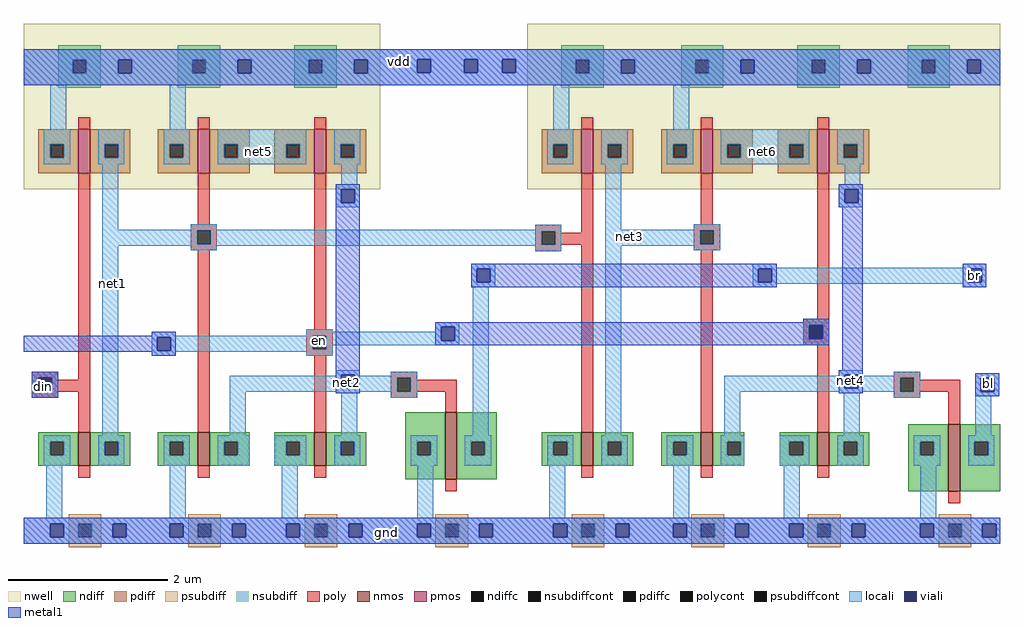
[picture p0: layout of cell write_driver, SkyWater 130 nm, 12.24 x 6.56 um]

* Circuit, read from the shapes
.subckt write_driver br bl gnd vdd din en
XM1 net1 din gnd gnd sky130_fd_pr__nfet_01v8 w=0.42 l=0.15
XM2 net2 net1 gnd gnd sky130_fd_pr__nfet_01v8 w=0.42 l=0.15
XM3 net2 en gnd gnd sky130_fd_pr__nfet_01v8 w=0.42 l=0.15
XM4 br net2 gnd gnd sky130_fd_pr__nfet_01v8 w=0.84 l=0.15
XM5 net3 net1 gnd gnd sky130_fd_pr__nfet_01v8 w=0.42 l=0.15
XM6 net4 net3 gnd gnd sky130_fd_pr__nfet_01v8 w=0.42 l=0.15
XM7 net4 en gnd gnd sky130_fd_pr__nfet_01v8 w=0.42 l=0.15
XM8 bl net4 gnd gnd sky130_fd_pr__nfet_01v8 w=0.84 l=0.15
XM9 net1 din vdd vdd sky130_fd_pr__pfet_01v8 w=0.55 l=0.15
XM10 net5 net1 vdd vdd sky130_fd_pr__pfet_01v8 w=0.55 l=0.15
XM11 net2 en net5 vdd sky130_fd_pr__pfet_01v8 w=0.55 l=0.15
XM12 net3 net1 vdd vdd sky130_fd_pr__pfet_01v8 w=0.55 l=0.15
XM13 net6 net3 vdd vdd sky130_fd_pr__pfet_01v8 w=0.55 l=0.15
XM14 net4 en net6 vdd sky130_fd_pr__pfet_01v8 w=0.55 l=0.15
.ends

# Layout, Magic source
magic
tech sky130A
<< nwell >>
rect 117 564 564 771
rect 748 564 1341 771
<< nmos >>
rect 185 217 200 259
rect 335 217 350 259
rect 481 217 496 259
rect 645 200 660 284
rect 816 217 831 259
rect 966 217 981 259
rect 1112 217 1127 259
rect 1276 185 1291 269
<< pmos >>
rect 185 584 200 639
rect 335 584 350 639
rect 481 584 496 639
rect 816 584 831 639
rect 966 584 981 639
rect 1112 584 1127 639
<< ndiff >>
rect 135 247 185 259
rect 135 230 150 247
rect 167 230 185 247
rect 135 217 185 230
rect 200 247 250 259
rect 200 230 218 247
rect 235 230 250 247
rect 200 217 250 230
rect 285 247 335 259
rect 285 230 300 247
rect 317 230 335 247
rect 285 217 335 230
rect 350 247 400 259
rect 350 230 368 247
rect 385 230 400 247
rect 350 217 400 230
rect 431 247 481 259
rect 431 230 446 247
rect 463 230 481 247
rect 431 217 481 230
rect 496 247 546 259
rect 496 230 514 247
rect 531 230 546 247
rect 496 217 546 230
rect 595 247 645 284
rect 595 230 610 247
rect 627 230 645 247
rect 595 200 645 230
rect 660 247 710 284
rect 660 230 678 247
rect 695 230 710 247
rect 660 200 710 230
rect 766 247 816 259
rect 766 230 781 247
rect 798 230 816 247
rect 766 217 816 230
rect 831 247 881 259
rect 831 230 849 247
rect 866 230 881 247
rect 831 217 881 230
rect 916 247 966 259
rect 916 230 931 247
rect 948 230 966 247
rect 916 217 966 230
rect 981 247 1020 259
rect 981 230 999 247
rect 1016 230 1020 247
rect 981 217 1020 230
rect 1065 247 1112 259
rect 1065 230 1077 247
rect 1094 230 1112 247
rect 1065 217 1112 230
rect 1127 247 1177 259
rect 1127 230 1145 247
rect 1162 230 1177 247
rect 1127 217 1177 230
rect 1226 247 1276 269
rect 1226 230 1241 247
rect 1258 230 1276 247
rect 1226 185 1276 230
rect 1291 247 1341 269
rect 1291 230 1309 247
rect 1326 230 1341 247
rect 1291 185 1341 230
<< pdiff >>
rect 135 620 185 639
rect 135 603 150 620
rect 167 603 185 620
rect 135 584 185 603
rect 200 620 250 639
rect 200 603 218 620
rect 235 603 250 620
rect 200 584 250 603
rect 285 620 335 639
rect 285 603 300 620
rect 317 603 335 620
rect 285 584 335 603
rect 350 620 400 639
rect 350 603 368 620
rect 385 603 400 620
rect 350 584 400 603
rect 431 620 481 639
rect 431 603 446 620
rect 463 603 481 620
rect 431 584 481 603
rect 496 620 546 639
rect 496 603 514 620
rect 531 603 546 620
rect 496 584 546 603
rect 766 620 816 639
rect 766 603 781 620
rect 798 603 816 620
rect 766 584 816 603
rect 831 620 881 639
rect 831 603 849 620
rect 866 603 881 620
rect 831 584 881 603
rect 916 620 966 639
rect 916 603 931 620
rect 948 603 966 620
rect 916 584 966 603
rect 981 620 1031 639
rect 981 603 999 620
rect 1016 603 1031 620
rect 981 584 1031 603
rect 1062 620 1112 639
rect 1062 603 1077 620
rect 1094 603 1112 620
rect 1062 584 1112 603
rect 1127 620 1177 639
rect 1127 603 1145 620
rect 1162 603 1177 620
rect 1127 584 1177 603
<< ndiffc >>
rect 150 230 167 247
rect 218 230 235 247
rect 300 230 317 247
rect 368 230 385 247
rect 446 230 463 247
rect 514 230 531 247
rect 610 230 627 247
rect 678 230 695 247
rect 781 230 798 247
rect 849 230 866 247
rect 931 230 948 247
rect 999 230 1016 247
rect 1077 230 1094 247
rect 1145 230 1162 247
rect 1241 230 1258 247
rect 1309 230 1326 247
<< pdiffc >>
rect 150 603 167 620
rect 218 603 235 620
rect 300 603 317 620
rect 368 603 385 620
rect 446 603 463 620
rect 514 603 531 620
rect 781 603 798 620
rect 849 603 866 620
rect 931 603 948 620
rect 999 603 1016 620
rect 1077 603 1094 620
rect 1145 603 1162 620
<< psubdiff >>
rect 173 144 214 156
rect 173 127 185 144
rect 202 127 214 144
rect 173 115 214 127
rect 323 144 364 156
rect 323 127 335 144
rect 352 127 364 144
rect 323 115 364 127
rect 469 144 510 156
rect 469 127 481 144
rect 498 127 510 144
rect 469 115 510 127
rect 633 144 674 156
rect 633 127 645 144
rect 662 127 674 144
rect 633 115 674 127
rect 804 144 845 156
rect 804 127 816 144
rect 833 127 845 144
rect 804 115 845 127
rect 954 144 995 156
rect 954 127 966 144
rect 983 127 995 144
rect 954 115 995 127
rect 1100 144 1141 156
rect 1100 127 1112 144
rect 1129 127 1141 144
rect 1100 115 1141 127
rect 1264 144 1305 156
rect 1264 127 1276 144
rect 1293 127 1305 144
rect 1264 115 1305 127
<< nsubdiff >>
rect 160 726 213 744
rect 160 709 178 726
rect 195 709 213 726
rect 160 691 213 709
rect 310 726 363 744
rect 310 709 328 726
rect 345 709 363 726
rect 310 691 363 709
rect 456 726 509 744
rect 456 709 474 726
rect 491 709 509 726
rect 456 691 509 709
rect 791 726 844 744
rect 791 709 809 726
rect 826 709 844 726
rect 791 691 844 709
rect 941 726 994 744
rect 941 709 959 726
rect 976 709 994 726
rect 941 691 994 709
rect 1087 726 1140 744
rect 1087 709 1105 726
rect 1122 709 1140 726
rect 1087 691 1140 709
rect 1225 726 1278 744
rect 1225 709 1243 726
rect 1260 709 1278 726
rect 1225 691 1278 709
<< psubdiffcont >>
rect 185 127 202 144
rect 335 127 352 144
rect 481 127 498 144
rect 645 127 662 144
rect 816 127 833 144
rect 966 127 983 144
rect 1112 127 1129 144
rect 1276 127 1293 144
<< nsubdiffcont >>
rect 178 709 195 726
rect 328 709 345 726
rect 474 709 491 726
rect 809 709 826 726
rect 959 709 976 726
rect 1105 709 1122 726
rect 1243 709 1260 726
<< poly >>
rect 185 639 200 654
rect 335 639 350 654
rect 481 639 496 654
rect 816 639 831 654
rect 966 639 981 654
rect 1112 639 1127 654
rect 127 327 160 335
rect 127 310 135 327
rect 152 325 160 327
rect 185 325 200 584
rect 335 520 350 584
rect 326 512 359 520
rect 326 495 334 512
rect 351 495 359 512
rect 326 487 359 495
rect 152 310 200 325
rect 127 302 160 310
rect 185 259 200 310
rect 335 259 350 487
rect 481 388 496 584
rect 758 511 791 519
rect 758 494 766 511
rect 783 509 791 511
rect 816 509 831 584
rect 966 520 981 584
rect 783 494 831 509
rect 758 486 791 494
rect 471 380 504 388
rect 471 363 479 380
rect 496 363 504 380
rect 471 355 504 363
rect 481 259 496 355
rect 577 327 610 335
rect 577 310 585 327
rect 602 325 610 327
rect 602 310 660 325
rect 577 302 610 310
rect 645 284 660 310
rect 185 202 200 217
rect 335 202 350 217
rect 481 202 496 217
rect 816 259 831 494
rect 957 512 990 520
rect 957 495 965 512
rect 982 495 990 512
rect 957 487 990 495
rect 966 259 981 487
rect 1112 401 1127 584
rect 1094 393 1127 401
rect 1094 376 1102 393
rect 1119 376 1127 393
rect 1094 368 1127 376
rect 1112 259 1127 368
rect 1208 327 1241 335
rect 1208 310 1216 327
rect 1233 325 1241 327
rect 1233 310 1291 325
rect 1208 302 1241 310
rect 1276 269 1291 310
rect 816 202 831 217
rect 966 202 981 217
rect 1112 202 1127 217
rect 645 185 660 200
rect 1276 170 1291 185
<< polycont >>
rect 135 310 152 327
rect 334 495 351 512
rect 766 494 783 511
rect 479 363 496 380
rect 585 310 602 327
rect 965 495 982 512
rect 1102 376 1119 393
rect 1216 310 1233 327
<< locali >>
rect 117 727 1341 739
rect 117 726 610 727
rect 117 709 178 726
rect 195 709 235 726
rect 252 709 328 726
rect 345 709 385 726
rect 402 709 474 726
rect 491 709 531 726
rect 548 710 610 726
rect 627 710 669 727
rect 686 710 717 727
rect 734 726 1341 727
rect 734 710 809 726
rect 548 709 809 710
rect 826 709 866 726
rect 883 709 959 726
rect 976 709 1016 726
rect 1033 709 1105 726
rect 1122 709 1162 726
rect 1179 709 1243 726
rect 1260 709 1300 726
rect 1317 709 1341 726
rect 117 694 1341 709
rect 150 639 170 694
rect 300 639 320 694
rect 781 639 801 694
rect 931 639 951 694
rect 142 620 175 639
rect 142 603 150 620
rect 167 603 175 620
rect 142 595 175 603
rect 210 620 243 639
rect 210 603 218 620
rect 235 603 243 620
rect 210 595 243 603
rect 292 620 325 639
rect 292 603 300 620
rect 317 603 325 620
rect 292 595 325 603
rect 360 620 471 639
rect 360 603 368 620
rect 385 603 446 620
rect 463 603 471 620
rect 360 595 471 603
rect 506 620 539 639
rect 506 603 514 620
rect 531 603 539 620
rect 506 595 539 603
rect 773 620 806 639
rect 773 603 781 620
rect 798 603 806 620
rect 773 595 806 603
rect 841 620 874 639
rect 841 603 849 620
rect 866 603 874 620
rect 841 595 874 603
rect 923 620 956 639
rect 923 603 931 620
rect 948 603 956 620
rect 923 595 956 603
rect 991 620 1102 639
rect 991 603 999 620
rect 1016 603 1077 620
rect 1094 603 1102 620
rect 991 595 1102 603
rect 1137 620 1170 639
rect 1137 603 1145 620
rect 1162 603 1170 620
rect 1137 595 1170 603
rect 215 513 235 595
rect 515 570 535 595
rect 508 564 538 570
rect 508 547 515 564
rect 532 547 538 564
rect 508 541 538 547
rect 326 513 359 520
rect 758 513 791 519
rect 215 512 791 513
rect 215 495 334 512
rect 351 511 791 512
rect 351 495 766 511
rect 215 494 766 495
rect 783 494 791 511
rect 215 493 791 494
rect 127 327 160 335
rect 127 310 135 327
rect 152 310 160 327
rect 127 302 160 310
rect 215 255 235 493
rect 326 487 359 493
rect 758 486 791 493
rect 846 513 866 595
rect 1146 570 1166 595
rect 1139 564 1169 570
rect 1139 547 1146 564
rect 1163 547 1169 564
rect 1139 541 1169 547
rect 957 513 990 520
rect 846 512 990 513
rect 846 495 965 512
rect 982 495 990 512
rect 846 493 990 495
rect 678 464 708 470
rect 678 447 685 464
rect 702 447 708 464
rect 678 441 708 447
rect 633 391 663 397
rect 471 385 504 388
rect 633 385 640 391
rect 277 380 307 385
rect 471 380 640 385
rect 277 378 479 380
rect 277 361 284 378
rect 301 363 479 378
rect 496 374 640 380
rect 657 374 663 391
rect 496 368 663 374
rect 496 363 504 368
rect 301 361 504 363
rect 277 360 504 361
rect 277 355 307 360
rect 471 355 504 360
rect 508 331 538 337
rect 508 330 515 331
rect 375 314 515 330
rect 532 330 538 331
rect 577 330 610 335
rect 532 327 610 330
rect 532 314 585 327
rect 375 310 585 314
rect 602 310 610 327
rect 375 255 395 310
rect 508 308 538 310
rect 515 255 535 308
rect 577 302 610 310
rect 680 255 700 441
rect 846 255 866 493
rect 957 487 990 493
rect 1031 465 1061 470
rect 1294 465 1324 470
rect 1031 464 1324 465
rect 1031 447 1038 464
rect 1055 447 1301 464
rect 1318 447 1324 464
rect 1031 445 1324 447
rect 1031 441 1061 445
rect 1294 441 1324 445
rect 1094 393 1127 401
rect 1094 376 1102 393
rect 1119 376 1127 393
rect 1094 368 1127 376
rect 1139 331 1169 337
rect 1139 330 1146 331
rect 995 314 1146 330
rect 1163 330 1169 331
rect 1208 330 1241 335
rect 1163 327 1241 330
rect 1163 314 1216 327
rect 995 310 1216 314
rect 1233 310 1241 327
rect 995 255 1015 310
rect 1139 308 1169 310
rect 1145 255 1165 308
rect 1208 302 1241 310
rect 1310 327 1340 333
rect 1310 310 1317 327
rect 1334 310 1340 327
rect 1310 304 1340 310
rect 1310 255 1330 304
rect 142 247 175 255
rect 142 230 150 247
rect 167 230 175 247
rect 142 217 175 230
rect 210 247 243 255
rect 210 230 218 247
rect 235 230 243 247
rect 210 217 243 230
rect 292 247 325 255
rect 292 230 300 247
rect 317 230 325 247
rect 292 217 325 230
rect 360 247 400 255
rect 360 230 368 247
rect 385 230 400 247
rect 360 217 400 230
rect 431 247 471 255
rect 431 230 446 247
rect 463 230 471 247
rect 431 217 471 230
rect 506 247 539 255
rect 506 230 514 247
rect 531 230 539 247
rect 506 217 539 230
rect 602 247 635 255
rect 602 230 610 247
rect 627 230 635 247
rect 602 217 635 230
rect 670 247 703 255
rect 670 230 678 247
rect 695 230 703 247
rect 670 217 703 230
rect 773 247 806 255
rect 773 230 781 247
rect 798 230 806 247
rect 773 217 806 230
rect 841 247 874 255
rect 841 230 849 247
rect 866 230 874 247
rect 841 217 874 230
rect 923 247 956 255
rect 923 230 931 247
rect 948 230 956 247
rect 923 217 956 230
rect 991 247 1020 255
rect 991 230 999 247
rect 1016 230 1020 247
rect 991 217 1020 230
rect 1065 247 1102 255
rect 1065 230 1077 247
rect 1094 230 1102 247
rect 1065 217 1102 230
rect 1137 247 1170 255
rect 1137 230 1145 247
rect 1162 230 1170 247
rect 1137 217 1170 230
rect 1233 247 1266 255
rect 1233 230 1241 247
rect 1258 230 1266 247
rect 1233 217 1266 230
rect 1301 247 1334 255
rect 1301 230 1309 247
rect 1326 230 1334 247
rect 1301 217 1334 230
rect 145 152 165 217
rect 300 152 320 217
rect 440 152 460 217
rect 610 152 630 217
rect 776 152 796 217
rect 931 152 951 217
rect 1070 152 1090 217
rect 1241 152 1261 217
rect 117 144 1341 152
rect 117 127 150 144
rect 167 127 185 144
rect 202 127 228 144
rect 245 127 300 144
rect 317 127 335 144
rect 352 127 378 144
rect 395 127 446 144
rect 463 127 481 144
rect 498 127 524 144
rect 541 127 610 144
rect 627 127 645 144
rect 662 127 688 144
rect 705 127 781 144
rect 798 127 816 144
rect 833 127 859 144
rect 876 127 931 144
rect 948 127 966 144
rect 983 127 1009 144
rect 1026 127 1077 144
rect 1094 127 1112 144
rect 1129 127 1155 144
rect 1172 127 1241 144
rect 1258 127 1276 144
rect 1293 127 1319 144
rect 1336 127 1341 144
rect 117 119 1341 127
<< viali >>
rect 235 709 252 726
rect 385 709 402 726
rect 531 709 548 726
rect 610 710 627 727
rect 669 710 686 727
rect 717 710 734 727
rect 866 709 883 726
rect 1016 709 1033 726
rect 1162 709 1179 726
rect 1300 709 1317 726
rect 515 547 532 564
rect 135 310 152 327
rect 1146 547 1163 564
rect 685 447 702 464
rect 284 361 301 378
rect 640 374 657 391
rect 515 314 532 331
rect 1038 447 1055 464
rect 1301 447 1318 464
rect 1102 376 1119 393
rect 1146 314 1163 331
rect 1317 310 1334 327
rect 150 127 167 144
rect 228 127 245 144
rect 300 127 317 144
rect 378 127 395 144
rect 446 127 463 144
rect 524 127 541 144
rect 610 127 627 144
rect 688 127 705 144
rect 781 127 798 144
rect 859 127 876 144
rect 931 127 948 144
rect 1009 127 1026 144
rect 1077 127 1094 144
rect 1155 127 1172 144
rect 1241 127 1258 144
rect 1319 127 1336 144
<< metal1 >>
rect 117 727 1341 739
rect 117 726 610 727
rect 117 709 235 726
rect 252 709 385 726
rect 402 709 531 726
rect 548 710 610 726
rect 627 710 669 727
rect 686 710 717 727
rect 734 726 1341 727
rect 734 710 866 726
rect 548 709 866 710
rect 883 709 1016 726
rect 1033 709 1162 726
rect 1179 709 1300 726
rect 1317 709 1341 726
rect 117 694 1341 709
rect 508 564 538 570
rect 508 547 515 564
rect 532 547 538 564
rect 277 380 307 385
rect 117 378 307 380
rect 117 361 284 378
rect 301 361 307 378
rect 117 360 307 361
rect 277 355 307 360
rect 127 327 160 335
rect 127 310 135 327
rect 152 310 160 327
rect 127 302 160 310
rect 508 331 538 547
rect 1139 564 1169 570
rect 1139 547 1146 564
rect 1163 547 1169 564
rect 1139 541 1169 547
rect 678 464 1061 470
rect 678 447 685 464
rect 702 447 1038 464
rect 1055 447 1061 464
rect 678 441 1061 447
rect 1094 397 1127 401
rect 633 393 1127 397
rect 633 391 1102 393
rect 633 374 640 391
rect 657 376 1102 391
rect 1119 376 1127 393
rect 657 374 1127 376
rect 633 368 1127 374
rect 1143 337 1169 541
rect 1294 464 1324 470
rect 1294 447 1301 464
rect 1318 447 1324 464
rect 1294 441 1324 447
rect 508 314 515 331
rect 532 314 538 331
rect 508 308 538 314
rect 1139 331 1169 337
rect 1139 314 1146 331
rect 1163 314 1169 331
rect 1139 308 1169 314
rect 1310 327 1340 333
rect 1310 310 1317 327
rect 1334 310 1340 327
rect 1310 304 1340 310
rect 117 144 1341 152
rect 117 127 150 144
rect 167 127 228 144
rect 245 127 300 144
rect 317 127 378 144
rect 395 127 446 144
rect 463 127 524 144
rect 541 127 610 144
rect 627 127 688 144
rect 705 127 781 144
rect 798 127 859 144
rect 876 127 931 144
rect 948 127 1009 144
rect 1026 127 1077 144
rect 1094 127 1155 144
rect 1172 127 1241 144
rect 1258 127 1319 144
rect 1336 127 1341 144
rect 117 119 1341 127
<< labels >>
flabel locali s 1304 451 1314 460 0 FreeSans 600 0 0 0 br
port 0 nsew
flabel locali s 1321 315 1331 324 0 FreeSans 600 0 0 0 bl
port 1 nsew
flabel metal1 s 552 124 591 143 0 FreeSans 400 0 0 0 gnd
port 2 nsew
flabel metal1 s 569 714 608 733 0 FreeSans 400 0 0 0 vdd
port 3 nsew
flabel locali s 136 311 146 322 0 FreeSans 400 0 0 0 din
port 4 nsew
flabel locali s 482 368 492 379 0 FreeSans 400 0 0 0 en
port 5 nsew
flabel locali s 223 440 233 451 0 FreeSans 200 0 0 0 net1
flabel locali s 871 499 881 510 0 FreeSans 200 0 0 0 net3
flabel locali s 1149 318 1159 329 0 FreeSans 200 0 0 0 net4
flabel locali s 517 316 527 327 0 FreeSans 200 0 0 0 net2
flabel locali s 406 606 416 617 0 FreeSans 200 0 0 0 net5
flabel locali s 1038 606 1048 617 0 FreeSans 200 0 0 0 net6
<< properties >>
string FIXED_BBOX 117 135 1341 717
<< end >>
